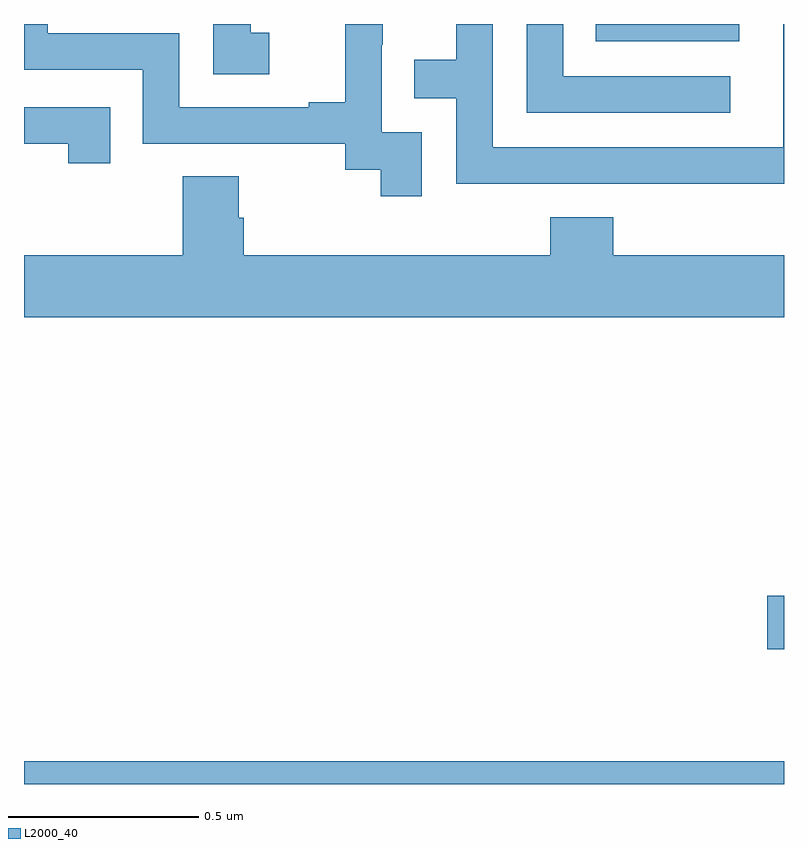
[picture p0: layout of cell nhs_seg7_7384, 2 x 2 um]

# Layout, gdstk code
import gdstk
lib = gdstk.Library(unit=1e-6, precision=1e-09)
def R(c, l, rs):  # rectangles x0, y0, x1, y1
    for r in rs: c.add(gdstk.rectangle(r[:2], r[2:], *l))
def P(c, l, *ps):  # polygons
    for p in ps: c.add(gdstk.Polygon(p, *l))
L2000_40 = (2000, 40)

nhs_seg7_7384 = lib.new_cell('nhs_seg7_7384')
R(nhs_seg7_7384, L2000_40, [(210,1054,212,1054.06), (211.956,1054.354,212,1054.496), (211.504,1055.954,211.882,1056)])
P(nhs_seg7_7384, L2000_40, [(210.646,1055.977),(210.597,1055.977),(210.597,1056),(210.498,1056),(210.498,1055.868),(210.646,1055.868)],
  [(212,1056),(211.998,1056),(211.998,1055.676),(211.233,1055.676),(211.233,1056),(211.137,1056),(211.137,1055.906),(211.027,1055.906),(211.027,1055.805),(211.137,1055.805),(211.137,1055.58),(211.633,1055.58),(211.633,1055.579),(212,1055.579)],
  [(211.047,1055.715),(210.942,1055.715),(210.942,1055.945),(210.944,1055.945),(210.944,1056),(210.845,1056),(210.845,1055.794),(210.749,1055.794),(210.749,1055.781),(210.408,1055.781),(210.408,1055.976),(210.063,1055.976),(210.063,1056),(210,1056),(210,1055.88),(210.312,1055.88),(210.312,1055.685),(210.846,1055.685),(210.846,1055.617),(210.939,1055.617),(210.939,1055.547),(211.047,1055.547)],
  [(211.858,1055.862),(211.419,1055.862),(211.419,1056),(211.323,1056),(211.323,1055.766),(211.858,1055.766)],
  [(210.227,1055.781),(210,1055.781),(210,1055.685),(210.116,1055.685),(210.116,1055.634),(210.227,1055.634)],
  [(212,1055.392),(211.55,1055.392),(211.55,1055.491),(211.385,1055.491),(211.385,1055.392),(210.578,1055.392),(210.578,1055.49),(210.565,1055.49),(210.565,1055.6),(210.418,1055.6),(210.418,1055.392),(210,1055.392),(210,1055.228),(212,1055.228)])

lib.write_gds('nhs_seg7_7384.gds')
